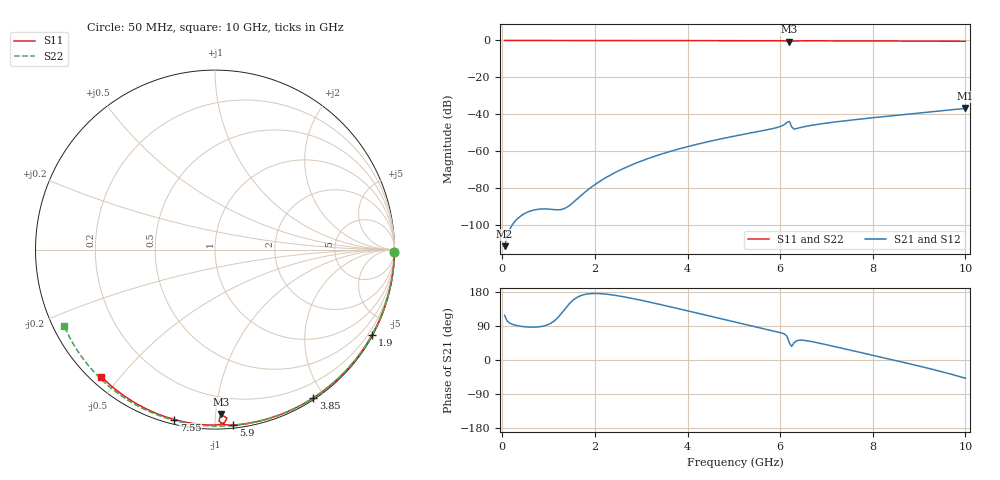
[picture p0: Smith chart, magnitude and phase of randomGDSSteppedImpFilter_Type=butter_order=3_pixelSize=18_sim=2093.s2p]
! freq	dB(S11)	phase(S11)	dB(S12)	phase(S12)
!  dB(S21)	phase(S21)	dB(S22)	phase(S22)
!S-par simulation data
#  GHz  S  DB  R 50
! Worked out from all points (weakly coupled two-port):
!   200 points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, 50 MHz to 10 GHz, reference 50 ohm
!   highest |S21| = -36.81 dB at 10 GHz (marker M1); lowest = -111.4 dB at 50 MHz (marker M2)
!   lowest |S11| = -0.7 dB at 6.2 GHz (marker M3), VSWR 23.38, Z = 4.42 - j51.6 ohm
!   |S11| at or under -10 dB: nowhere
!   |S22| runs from -0.5 to 0.0 dB; largest |S21 - S12| = 0
!   S11 on the Smith chart (normalised r, x): 50 MHz: open; 1.9 GHz: 0.03, -3.93; 3.85 GHz: 0.02, -1.86; 5.9 GHz: 0.02, -1.11; 7.55 GHz: 0.02, -0.79; 10 GHz: 0.03, -0.45
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0.05  -0.00 -0.8  -111.44 117.9  -111.44 117.9  -0.00 -0.9
0.85  -0.01 -12.9  -91.29 88.6  -91.29 88.6  -0.02 -14.9
1.75  -0.03 -26.3  -82.93 172.0  -82.93 172.0  -0.04 -30.4
1.9  -0.04 -28.5  -79.92 175.1  -79.92 175.1  -0.04 -32.9
2.2  -0.04 -32.9  -74.86 174.3  -74.86 174.3  -0.05 -38.0
2.55  -0.05 -38.0  -70.15 168.3  -70.15 168.3  -0.06 -43.8
2.95  -0.06 -43.8  -65.82 158.8  -65.82 158.8  -0.07 -50.4
3.4  -0.07 -50.1  -61.84 146.8  -61.84 146.8  -0.08 -57.7
3.85  -0.08 -56.4  -58.53 134.1  -58.53 134.1  -0.09 -64.8
4.4  -0.09 -63.9  -55.08 118.2  -55.08 118.2  -0.10 -73.4
5.05  -0.11 -72.6  -51.63 99.4  -51.63 99.4  -0.13 -83.3
5.9  -0.15 -84.0  -47.39 75.4  -47.39 75.4  -0.16 -95.8
6.1  -0.24 -87.5  -45.39 68.1  -45.39 68.1  -0.17 -98.7
6.15  -0.39 -88.6  -44.33 62.1  -44.33 62.1  -0.18 -99.4
6.2  -0.74 -88.0  -43.88 44.6  -43.88 44.6  -0.18 -100.1
6.25  -0.53 -86.0  -46.85 35.8  -46.85 35.8  -0.18 -100.8
6.3  -0.31 -86.8  -47.98 45.3  -47.98 45.3  -0.19 -101.5
6.7  -0.19 -92.9  -45.88 48.1  -45.88 48.1  -0.21 -107.2
7.55  -0.24 -103.4  -43.10 25.0  -43.10 25.0  -0.27 -119.1
8.35  -0.29 -112.9  -40.97 2.6  -40.97 2.6  -0.33 -130.1
9.2  -0.37 -122.7  -38.82 -21.9  -38.82 -21.9  -0.42 -141.9
10  -0.45 -131.9  -36.81 -48.2  -36.81 -48.2  -0.52 -153.0
